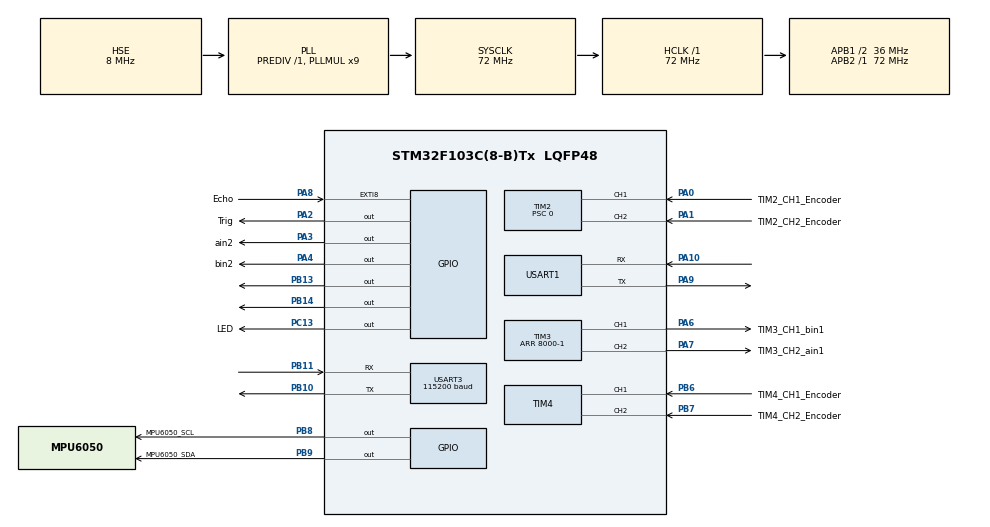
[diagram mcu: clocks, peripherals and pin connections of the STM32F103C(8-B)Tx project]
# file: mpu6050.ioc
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Dma.Request0=USART3_RX
Dma.Request1=USART3_TX
Dma.USART3_RX.0.Direction=DMA_PERIPH_TO_MEMORY
Dma.USART3_RX.0.Instance=DMA1_Channel3
Dma.USART3_RX.0.MemDataAlignment=DMA_MDATAALIGN_BYTE
Dma.USART3_RX.0.MemInc=DMA_MINC_ENABLE
Dma.USART3_RX.0.Mode=DMA_NORMAL
Dma.USART3_RX.0.PeriphDataAlignment=DMA_PDATAALIGN_BYTE
Dma.USART3_RX.0.PeriphInc=DMA_PINC_DISABLE
Dma.USART3_RX.0.Priority=DMA_PRIORITY_LOW
Dma.USART3_TX.1.Direction=DMA_MEMORY_TO_PERIPH
Dma.USART3_TX.1.Instance=DMA1_Channel2
Dma.USART3_TX.1.MemDataAlignment=DMA_MDATAALIGN_BYTE
Dma.USART3_TX.1.MemInc=DMA_MINC_ENABLE
Dma.USART3_TX.1.Mode=DMA_NORMAL
Dma.USART3_TX.1.PeriphDataAlignment=DMA_PDATAALIGN_BYTE
Dma.USART3_TX.1.PeriphInc=DMA_PINC_DISABLE
Dma.USART3_TX.1.Priority=DMA_PRIORITY_LOW
FREERTOS.Tasks01=Task_200HZ,0,128,StartTask_200HZ,Default,NULL,Dynamic,NULL,NULL;Task_100HZ,-3,128,StartTask_100HZ,Default,NULL,Dynamic,NULL,NULL;Task_5HZ,-3,128,StartTask_5HZ,Default,NULL,Dynamic,NULL,NULL;Task_Interactio,-3,128,StartTask_Interaction,Default,NULL,Dynamic,NULL,NULL
Mcu.Family=STM32F1
Mcu.Name=STM32F103C(8-B)Tx
Mcu.Package=LQFP48
NVIC.DMA1_Channel2_IRQn=true\:5\:0\:false\:false\:true\:true\:false\:true
NVIC.DMA1_Channel3_IRQn=true\:5\:0\:false\:false\:true\:true\:false\:true
NVIC.EXTI9_5_IRQn=true\:10\:0\:true\:false\:true\:true\:true\:true
NVIC.PriorityGroup=NVIC_PRIORITYGROUP_4
NVIC.TIM1_UP_IRQn=true\:15\:0\:false\:false\:true\:false\:false\:true
NVIC.TIM3_IRQn=true\:5\:0\:false\:false\:true\:true\:true\:true
NVIC.TimeBase=TIM1_UP_IRQn
NVIC.TimeBaseIP=TIM1
NVIC.USART3_IRQn=true\:5\:0\:false\:false\:true\:true\:true\:true
PA0-WKUP.GPIO_Label=TIM2_CH1_Encoder
PA0-WKUP.Signal=S_TIM2_CH1_ETR
PA1.GPIO_Label=TIM2_CH2_Encoder
PA1.Signal=S_TIM2_CH2
PA10.Mode=Asynchronous
PA10.Signal=USART1_RX
PA13.Mode=Serial_Wire
PA13.Signal=SYS_JTMS-SWDIO
PA14.Mode=Serial_Wire
PA14.Signal=SYS_JTCK-SWCLK
PA2.GPIO_Label=Trig
PA2.Signal=GPIO_Output
PA3.GPIO_Label=ain2
PA3.Signal=GPIO_Output
PA4.GPIO_Label=bin2
PA4.Signal=GPIO_Output
PA6.GPIO_Label=TIM3_CH1_bin1
PA6.Signal=S_TIM3_CH1
PA7.GPIO_Label=TIM3_CH2_ain1
PA7.Signal=S_TIM3_CH2
PA8.GPIO_Label=Echo
PA8.GPIO_ModeDefaultEXTI=GPIO_MODE_IT_RISING_FALLING
PA8.Signal=GPXTI8
PA9.Mode=Asynchronous
PA9.Signal=USART1_TX
PB10.Mode=Asynchronous
PB10.Signal=USART3_TX
PB11.GPIO_PuPd=GPIO_PULLDOWN
PB11.Mode=Asynchronous
PB11.Signal=USART3_RX
PB13.Signal=GPIO_Output
PB14.Signal=GPIO_Output
PB6.GPIO_Label=TIM4_CH1_Encoder
PB6.Signal=S_TIM4_CH1
PB7.GPIO_Label=TIM4_CH2_Encoder
PB7.Signal=S_TIM4_CH2
PB8.GPIO_Label=MPU6050_SCL
PB8.Signal=GPIO_Output
PB9.GPIO_Label=MPU6050_SDA
PB9.Signal=GPIO_Output
PC13-TAMPER-RTC.GPIO_Label=LED
PC13-TAMPER-RTC.Signal=GPIO_Output
PD0-OSC_IN.Mode=HSE-External-Oscillator
PD0-OSC_IN.Signal=RCC_OSC_IN
PD1-OSC_OUT.Mode=HSE-External-Oscillator
PD1-OSC_OUT.Signal=RCC_OSC_OUT
ProjectManager.HeapSize=0x200
ProjectManager.StackSize=0x400
ProjectManager.TargetToolchain=MDK-ARM V5.32
RCC.AHBFreq_Value=72000000
RCC.APB1CLKDivider=RCC_HCLK_DIV2
RCC.APB1Freq_Value=36000000
RCC.APB1TimFreq_Value=72000000
RCC.APB2Freq_Value=72000000
RCC.APB2TimFreq_Value=72000000
RCC.HCLKFreq_Value=72000000
RCC.PLLMUL=RCC_PLL_MUL9
RCC.PLLSourceVirtual=RCC_PLLSOURCE_HSE
RCC.SYSCLKFreq_VALUE=72000000
RCC.SYSCLKSource=RCC_SYSCLKSOURCE_PLLCLK
RCC.USBFreq_Value=72000000
SH.S_TIM2_CH1_ETR.0=TIM2_CH1,Encoder_Interface
SH.S_TIM2_CH2.0=TIM2_CH2,Encoder_Interface
SH.S_TIM3_CH1.0=TIM3_CH1,PWM Generation1 CH1
SH.S_TIM3_CH2.0=TIM3_CH2,PWM Generation2 CH2
SH.S_TIM4_CH1.0=TIM4_CH1,Encoder_Interface
SH.S_TIM4_CH2.0=TIM4_CH2,Encoder_Interface
TIM2.EncoderMode=TIM_ENCODERMODE_TI12
TIM2.Prescaler=0
TIM3.Channel-PWM\ Generation1\ CH1=TIM_CHANNEL_1
TIM3.Channel-PWM\ Generation2\ CH2=TIM_CHANNEL_2
TIM3.Channel-PWM\ Generation3\ No\ Output=TIM_CHANNEL_3
TIM3.Channel-PWM\ Generation4\ No\ Output=TIM_CHANNEL_4
TIM3.Period=8000-1
TIM4.EncoderMode=TIM_ENCODERMODE_TI12
USART1.VirtualMode=VM_ASYNC
USART3.BaudRate=115200
USART3.VirtualMode=VM_ASYNC
VP_FREERTOS_VS_CMSIS_V1.Mode=CMSIS_V1
VP_SYS_VS_tim1.Mode=TIM1
VP_TIM3_VS_no_output3.Mode=PWM Generation3 No Output
VP_TIM3_VS_no_output4.Mode=PWM Generation4 No Output
board=custom

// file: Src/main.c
/* USER CODE BEGIN Header */
/**
  ******************************************************************************
  * @file           : main.c
  * @brief          : Main program body
  ******************************************************************************
  * @attention
  *
  * Copyright (c) 2023 STMicroelectronics.
  * All rights reserved.
  *
  * This software is licensed under terms that can be found in the LICENSE file
  * in the root directory of this software component.
  * If no LICENSE file comes with this software, it is provided AS-IS.
  *
  ******************************************************************************
  */
/* USER CODE END Header */
#include "main.h"
#include "cmsis_os.h"
#include "dma.h"
#include "tim.h"
#include "usart.h"
#include "gpio.h"

/* USER CODE BEGIN Includes */
#include "stdio.h"
#include "my_usart.h"
/* USER CODE END Includes */

void SystemClock_Config(void);
void MX_FREERTOS_Init(void);

/* USER CODE BEGIN 0 */

// printf & blue tooth sent out function�?? USART3 Blue Tooth

int fputc(int ch, FILE *fp)
{
    while (!(USART1->SR & (1 << 7)));
    USART1->DR = ch;

    while (!(USART3->SR & (1 << 7)));
    USART3->DR = ch;

    return ch;
}

int fgetc(FILE *f)
{
    uint8_t ch = 0;
    HAL_UART_Receive(&huart3, &ch, 1, 0xffff);
    return ch;
}

/* USER CODE END 0 */

int main(void)
{

  /* MCU Configuration--------------------------------------------------------*/

  /* Reset of all peripherals, Initializes the Flash interface and the Systick. */
  HAL_Init();

  /* Configure the system clock */
  SystemClock_Config();

  /* Initialize all configured peripherals */
  MX_GPIO_Init();
  MX_USART1_UART_Init();
  MX_TIM2_Init();
  MX_TIM3_Init();
  MX_TIM4_Init();
  MX_DMA_Init();
  MX_USART3_UART_Init();
  /* USER CODE BEGIN 2 */

	User_USART_Init(&BT_Data);
	// blue thooth

  HAL_UART_Receive_DMA(&huart3,BT_Data.RxBuffer,RXBUFFER_LEN);
	__HAL_UART_ENABLE_IT(&huart3,UART_IT_IDLE);
	__HAL_TIM_ENABLE_IT(&htim3, TIM_IT_UPDATE);
	HAL_TIM_PWM_Start(&htim3, TIM_CHANNEL_1);
	HAL_TIM_PWM_Start(&htim3, TIM_CHANNEL_2);
	HAL_TIM_PWM_Start_IT(&htim3,TIM_CHANNEL_3 );
  HAL_TIM_PWM_Start_IT (&htim3,TIM_CHANNEL_4 );
	HAL_TIM_Encoder_Start(&htim2, TIM_CHANNEL_ALL); // enable left Encoder
	HAL_TIM_Encoder_Start(&htim4, TIM_CHANNEL_ALL); // enable right Encoder

//	printf("Motor 1&2 PWM, Encoder Initialization Complete\n");
  /* USER CODE END 2 */

  /* Call init function for freertos objects (in freertos.c) */
  MX_FREERTOS_Init();
  /* Start scheduler */
  osKernelStart();

  /* We should never get here as control is now taken by the scheduler */
  /* Infinite loop */
  while (1)
  {

  }
}

void SystemClock_Config(void)
{
  RCC_OscInitTypeDef RCC_OscInitStruct = {0};
  RCC_ClkInitTypeDef RCC_ClkInitStruct = {0};

  /** Initializes the RCC Oscillators according to the specified parameters
  * in the RCC_OscInitTypeDef structure.
  */
  RCC_OscInitStruct.OscillatorType = RCC_OSCILLATORTYPE_HSE;
  RCC_OscInitStruct.HSEState = RCC_HSE_ON;
  RCC_OscInitStruct.HSEPredivValue = RCC_HSE_PREDIV_DIV1;
  RCC_OscInitStruct.HSIState = RCC_HSI_ON;
  RCC_OscInitStruct.PLL.PLLState = RCC_PLL_ON;
  RCC_OscInitStruct.PLL.PLLSource = RCC_PLLSOURCE_HSE;
  RCC_OscInitStruct.PLL.PLLMUL = RCC_PLL_MUL9;
  if (HAL_RCC_OscConfig(&RCC_OscInitStruct) != HAL_OK)
  {
    Error_Handler();
  }
  /** Initializes the CPU, AHB and APB buses clocks
  */
  RCC_ClkInitStruct.ClockType = RCC_CLOCKTYPE_HCLK|RCC_CLOCKTYPE_SYSCLK
                              |RCC_CLOCKTYPE_PCLK1|RCC_CLOCKTYPE_PCLK2;
  RCC_ClkInitStruct.SYSCLKSource = RCC_SYSCLKSOURCE_PLLCLK;
  RCC_ClkInitStruct.AHBCLKDivider = RCC_SYSCLK_DIV1;
  RCC_ClkInitStruct.APB1CLKDivider = RCC_HCLK_DIV2;
  RCC_ClkInitStruct.APB2CLKDivider = RCC_HCLK_DIV1;

  if (HAL_RCC_ClockConfig(&RCC_ClkInitStruct, FLASH_LATENCY_2) != HAL_OK)
  {
    Error_Handler();
  }
}

/* USER CODE BEGIN 4 */
void HAL_TIM_PWM_PulseFinishedCallback(TIM_HandleTypeDef *htim)
{
    if(htim->Channel == HAL_TIM_ACTIVE_CHANNEL_3)
    {

        GPIOA->BRR = GPIO_PIN_3;
    } else if(htim->Channel == HAL_TIM_ACTIVE_CHANNEL_4)
    {
        GPIOA->BRR = GPIO_PIN_4;
    }

}
/* USER CODE END 4 */

void HAL_TIM_PeriodElapsedCallback(TIM_HandleTypeDef *htim)
{
  /* USER CODE BEGIN Callback 0 */
    if(TIM3->CCR3 != 0)
        GPIOA->BSRR = GPIO_PIN_3;
    if(TIM3->CCR4 != 0)
        GPIOA->BSRR = GPIO_PIN_4;
  /* USER CODE END Callback 0 */
  if (htim->Instance == TIM1) {
    HAL_IncTick();
  }
}

void Error_Handler(void)
{
  __disable_irq();
  while (1)
  {
  }
}

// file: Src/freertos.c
/* USER CODE BEGIN Header */
/**
  ******************************************************************************
  * File Name          : freertos.c
  * Description        : Code for freertos applications
  ******************************************************************************
  * @attention
  *
  * Copyright (c) 2023 STMicroelectronics.
  * All rights reserved.
  *
  * This software is licensed under terms that can be found in the LICENSE file
  * in the root directory of this software component.
  * If no LICENSE file comes with this software, it is provided AS-IS.
  *
  ******************************************************************************
  */
/* USER CODE END Header */

#include "FreeRTOS.h"
#include "task.h"
#include "main.h"
#include "cmsis_os.h"

/* USER CODE BEGIN Includes */
#include "stdio.h"
#include "mpu6050.h"
#include "car_task.h"
#include "inv_mpu.h"
/* USER CODE END Includes */

/* USER CODE BEGIN Variables */
int task_flag = 0;
float Encoder = 0;
float Encoder_Integral = 0;
/* USER CODE END Variables */
osThreadId Task_200HZHandle;
osThreadId Task_100HZHandle;
osThreadId Task_5HZHandle;
osThreadId Task_InteractioHandle;

void StartTask_200HZ(void const * argument);
void StartTask_100HZ(void const * argument);
void StartTask_5HZ(void const * argument);
void StartTask_Interaction(void const * argument);

void MX_FREERTOS_Init(void); /* (MISRA C 2004 rule 8.1) */

/* GetIdleTaskMemory prototype (linked to static allocation support) */
void vApplicationGetIdleTaskMemory( StaticTask_t **ppxIdleTaskTCBBuffer, StackType_t **ppxIdleTaskStackBuffer, uint32_t *pulIdleTaskStackSize );

/* USER CODE BEGIN GET_IDLE_TASK_MEMORY */
static StaticTask_t xIdleTaskTCBBuffer;
static StackType_t xIdleStack[configMINIMAL_STACK_SIZE];

void vApplicationGetIdleTaskMemory( StaticTask_t **ppxIdleTaskTCBBuffer, StackType_t **ppxIdleTaskStackBuffer, uint32_t *pulIdleTaskStackSize )
{
  *ppxIdleTaskTCBBuffer = &xIdleTaskTCBBuffer;
  *ppxIdleTaskStackBuffer = &xIdleStack[0];
  *pulIdleTaskStackSize = configMINIMAL_STACK_SIZE;
  /* place for user code */
}
/* USER CODE END GET_IDLE_TASK_MEMORY */

void MX_FREERTOS_Init(void) {

  /* Create the thread(s) */
  /* definition and creation of Task_200HZ */
  osThreadDef(Task_200HZ, StartTask_200HZ, osPriorityNormal, 0, 128);
  Task_200HZHandle = osThreadCreate(osThread(Task_200HZ), NULL);

  /* definition and creation of Task_100HZ */
  osThreadDef(Task_100HZ, StartTask_100HZ, osPriorityIdle, 0, 128);
  Task_100HZHandle = osThreadCreate(osThread(Task_100HZ), NULL);

  /* definition and creation of Task_5HZ */
  osThreadDef(Task_5HZ, StartTask_5HZ, osPriorityIdle, 0, 128);
  Task_5HZHandle = osThreadCreate(osThread(Task_5HZ), NULL);

  /* definition and creation of Task_Interactio */
  osThreadDef(Task_Interactio, StartTask_Interaction, osPriorityIdle, 0, 128);
  Task_InteractioHandle = osThreadCreate(osThread(Task_Interactio), NULL);

}

void StartTask_200HZ(void const * argument)
{
  /* USER CODE BEGIN StartTask_200HZ */
  vTaskSuspendAll() ;
//	printf("Environment Task Running\n");

	while(mpu_dmp_init()){}; // waiting for environment task finish
//	printf("MPU Initialization\n");
	task_flag = 1;

  /* Infinite loop */
//	printf("200HZ Task Running\n");
	xTaskResumeAll() ;

  for(;;)
  {

		Car_Task_200HZ();
    osDelay(5);
  }
  /* USER CODE END StartTask_200HZ */
}

void StartTask_100HZ(void const * argument)
{
  /* USER CODE BEGIN StartTask_100HZ */
  /* Infinite loop */
//	printf("100HZ task running\n");
  for(;;)
  {
    // 将 Encoder，Encoder_Least的指针传入下面的函数
 		Car_Task_100HZ();
		HAL_GPIO_TogglePin(GPIOC, GPIO_PIN_13);
    osDelay(10);
  }
  /* USER CODE END StartTask_100HZ */
}

void StartTask_5HZ(void const * argument)
{
  /* USER CODE BEGIN StartTask_5HZ */

  /* Infinite loop */
  for(;;)
  {
//		Car_Task_5HZ();
//    osDelay(100);
  }
  /* USER CODE END StartTask_5HZ */
}

void StartTask_Interaction(void const * argument)
{
  /* USER CODE BEGIN StartTask_Interaction */
  /* Infinite loop */
  for(;;)
  {
		Car_Task_Interaction();
    osDelay(200);
  }
  /* USER CODE END StartTask_Interaction */
}
